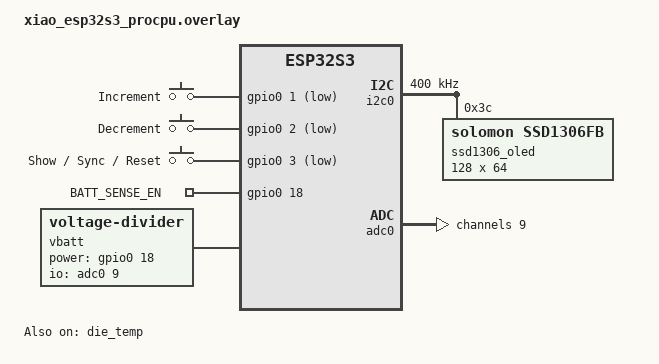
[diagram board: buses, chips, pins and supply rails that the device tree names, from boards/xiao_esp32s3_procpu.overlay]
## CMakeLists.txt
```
#
# Smart Counter — Zephyr build script
#
# Usage (vanilla Zephyr):
#   west build -b xiao_esp32s3/esp32s3/procpu -p auto
#
# Usage (nRF Connect SDK on a Nordic board):
#   west build -b nrf52840dk/nrf52840 -p auto
#   (board overlay + WiFi pieces would need re-targeting, see doc/PORT.md)
#

cmake_minimum_required(VERSION 3.20.0)

find_package(Zephyr REQUIRED HINTS $ENV{ZEPHYR_BASE})
project(smartcounter)

target_sources(app PRIVATE
    src/main.c
    src/buttons.c
    src/battery.c
    src/display.c
    src/ble_uart.c
    src/network.c
    src/settings_store.c
    src/counter_state.c
)

target_include_directories(app PRIVATE src)
```

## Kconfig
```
#
# Smart Counter — application-private Kconfig symbols
#
# Anything project-specific (not a Zephyr subsystem flag) belongs here
# rather than in prj.conf. Default values can be overridden per-board
# via board overlays or via `west build -- -DCONFIG_...=...`.
#

mainmenu "Smart Counter"

source "Kconfig.zephyr"

menu "Smart Counter application"

config SMARTCOUNTER_DEFAULT_POST_INTERVAL_SEC
	int "Default seconds between HTTP POSTs of counter state"
	default 3600
	range 5 86400
	help
	  How often the device wakes from deep sleep to push its state.
	  May be overridden at runtime via BLE/HTTP and stored in settings.

config SMARTCOUNTER_DEFAULT_DISPLAY_TIMEOUT_SEC
	int "Default seconds before the OLED powers off after activity"
	default 15
	range 3 600

config SMARTCOUNTER_BLE_ACTIVE_WINDOW_MS
	int "How long BLE advertising stays up after user activity (ms)"
	default 60000

config SMARTCOUNTER_BATTERY_SAMPLES
	int "Number of ADC samples averaged per battery reading"
	default 8
	range 1 64

config SMARTCOUNTER_DEFAULT_API_URL
	string "Default HTTPS endpoint for counter POSTs"
	default "https://stocknet.resensys.cloud/api/counter"

config SMARTCOUNTER_DEFAULT_WIFI_SSID
	string "Default WiFi SSID (used only if NVS slot is empty)"
	default ""

config SMARTCOUNTER_DEFAULT_WIFI_PASS
	string "Default WiFi password (used only if NVS slot is empty)"
	default ""

endmenu
```

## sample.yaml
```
sample:
  description: Smart Counter — Zephyr port of the Arduino smartcounter_battery sketch
  name: smartcounter
tests:
  app.build:
    platform_allow:
      - xiao_esp32s3/esp32s3/procpu
    tags: smartcounter
    extra_args: CONF_FILE=prj.conf
```

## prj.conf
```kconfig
#
# Smart Counter — application Kconfig fragment
#
# Each CONFIG_* line below is a Kconfig symbol the Zephyr build system
# consumes to enable a subsystem, driver, or feature. This file is the
# Zephyr analogue of the per-sketch #defines and library #includes at
# the top of the Arduino source.
#

# ---------------------------------------------------------------
# General
# ---------------------------------------------------------------
CONFIG_MAIN_STACK_SIZE=4096
CONFIG_SYSTEM_WORKQUEUE_STACK_SIZE=4096
CONFIG_HEAP_MEM_POOL_SIZE=16384

CONFIG_LOG=y
CONFIG_LOG_DEFAULT_LEVEL=3
CONFIG_LOG_MODE_DEFERRED=y
CONFIG_LOG_BUFFER_SIZE=4096

CONFIG_PRINTK=y
CONFIG_CONSOLE=y
CONFIG_SERIAL=y
CONFIG_UART_CONSOLE=y

CONFIG_CPLUSPLUS=n
CONFIG_NEWLIB_LIBC=y
CONFIG_NEWLIB_LIBC_FLOAT_PRINTF=y

CONFIG_REBOOT=y

# ---------------------------------------------------------------
# Threads, work queues, events
# (Zephyr replacement for ad-hoc volatile flags + loop() polling)
# ---------------------------------------------------------------
CONFIG_EVENTS=y
CONFIG_POLL=y

# ---------------------------------------------------------------
# GPIO + ADC + I2C  (buttons, battery sense, OLED bus)
# ---------------------------------------------------------------
CONFIG_GPIO=y
CONFIG_ADC=y
CONFIG_ADC_ASYNC=n
CONFIG_I2C=y

# ---------------------------------------------------------------
# Display: SSD1306 over I2C, character framebuffer ("CFB") for text
# ---------------------------------------------------------------
CONFIG_DISPLAY=y
CONFIG_SSD1306=y
CONFIG_CHARACTER_FRAMEBUFFER=y

# ---------------------------------------------------------------
# Sensors (internal die temperature on ESP32-S3)
# ---------------------------------------------------------------
CONFIG_SENSOR=y

# ---------------------------------------------------------------
# Bluetooth: peripheral with Nordic UART Service (NUS)
# ---------------------------------------------------------------
CONFIG_BT=y
CONFIG_BT_PERIPHERAL=y
CONFIG_BT_DEVICE_NAME="SC-01"
CONFIG_BT_DEVICE_NAME_DYNAMIC=y
CONFIG_BT_DEVICE_NAME_MAX=24
CONFIG_BT_DEVICE_APPEARANCE=0
CONFIG_BT_MAX_CONN=1
CONFIG_BT_GATT_DYNAMIC_DB=y

# Increase MTU so a full GET reply fits in fewer notifications
CONFIG_BT_BUF_ACL_RX_SIZE=251
CONFIG_BT_BUF_ACL_TX_SIZE=251
CONFIG_BT_L2CAP_TX_MTU=247

# Vanilla Zephyr NUS service. In nRF Connect SDK swap for
# CONFIG_BT_NUS=y from <bluetooth/services/nus.h>.
CONFIG_BT_ZEPHYR_NUS=y

# ---------------------------------------------------------------
# Networking: WiFi + sockets + HTTP client + TLS
# ---------------------------------------------------------------
CONFIG_NETWORKING=y
CONFIG_NET_NATIVE=y
CONFIG_NET_IPV4=y
CONFIG_NET_TCP=y
CONFIG_NET_UDP=y
CONFIG_NET_SOCKETS=y
CONFIG_NET_SOCKETS_POSIX_NAMES=y
CONFIG_NET_DHCPV4=y
CONFIG_NET_LOG=y

CONFIG_WIFI=y
CONFIG_WIFI_ESP32=y
CONFIG_NET_L2_WIFI_MGMT=y

CONFIG_DNS_RESOLVER=y

CONFIG_HTTP_CLIENT=y

# TLS for HTTPS POST. mbedTLS is the standard backend on Zephyr.
CONFIG_NET_SOCKETS_SOCKOPT_TLS=y
CONFIG_MBEDTLS=y
CONFIG_MBEDTLS_BUILTIN=y
CONFIG_MBEDTLS_ENABLE_HEAP=y
CONFIG_MBEDTLS_HEAP_SIZE=65536
CONFIG_MBEDTLS_SSL_MAX_CONTENT_LEN=8192
CONFIG_NET_SOCKETS_TLS_MAX_CONTEXTS=2

# ---------------------------------------------------------------
# JSON (replaces ArduinoJson)
# ---------------------------------------------------------------
CONFIG_JSON_LIBRARY=y

# ---------------------------------------------------------------
# Settings + NVS (replaces Preferences.h)
# ---------------------------------------------------------------
CONFIG_FLASH=y
CONFIG_FLASH_MAP=y
CONFIG_NVS=y
CONFIG_SETTINGS=y
CONFIG_SETTINGS_NVS=y

# ---------------------------------------------------------------
# Power management & deep sleep
# (Zephyr "soft off" + GPIO/timer wake — replaces esp_deep_sleep_start)
# ---------------------------------------------------------------
CONFIG_PM=y
CONFIG_PM_DEVICE=y
CONFIG_POWEROFF=y

# ---------------------------------------------------------------
# Retained RAM (replaces RTC_DATA_ATTR boot counter)
# ---------------------------------------------------------------
CONFIG_RETAINED_MEM=y
CONFIG_RETENTION=y
CONFIG_RETENTION_BOOT_MODE=n

# ---------------------------------------------------------------
# Application Kconfig knobs (declared in ./Kconfig)
# ---------------------------------------------------------------
CONFIG_SMARTCOUNTER_DEFAULT_POST_INTERVAL_SEC=3600
CONFIG_SMARTCOUNTER_DEFAULT_DISPLAY_TIMEOUT_SEC=15
```

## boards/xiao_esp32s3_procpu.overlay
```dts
/*
 * Smart Counter — devicetree overlay for the Seeed Studio XIAO ESP32-S3.
 *
 * This file replaces the hard-coded pin numbers and `Wire.begin()` /
 * `Adafruit_SSD1306 display(...)` constructor calls in the Arduino
 * sketch. Every peripheral the application uses is described here as
 * a node; src/*.c only ever asks for the node by alias / chosen and
 * never touches a raw pin number.
 *
 * Resulting macros (DT_ALIAS, DT_NODELABEL, DT_CHOSEN) are generated
 * at build time and consumed in C via <zephyr/devicetree.h>.
 */

/ {
	chosen {
		/*
		 * The OLED display device for cfb_framebuffer_*() helpers.
		 * Replaces Adafruit_SSD1306's hard-coded I2C address arg.
		 */
		zephyr,display = &ssd1306_oled;
	};

	aliases {
		btn-up    = &btn_up;
		btn-down  = &btn_down;
		btn-show  = &btn_show;
		batt-en   = &batt_sense_en;
		oled      = &ssd1306_oled;
		die-temp  = &die_temp;
	};

	buttons {
		compatible = "gpio-keys";

		btn_up: button_up {
			label = "Increment";
			gpios = <&gpio0 1 (GPIO_PULL_UP | GPIO_ACTIVE_LOW)>; /* D0 */
			zephyr,code = <INPUT_KEY_UP>;
		};

		btn_down: button_down {
			label = "Decrement";
			gpios = <&gpio0 2 (GPIO_PULL_UP | GPIO_ACTIVE_LOW)>; /* D1 */
			zephyr,code = <INPUT_KEY_DOWN>;
		};

		btn_show: button_show {
			label = "Show / Sync / Reset";
			gpios = <&gpio0 3 (GPIO_PULL_UP | GPIO_ACTIVE_LOW)>; /* D2 */
			zephyr,code = <INPUT_KEY_ENTER>;
			/* deep-sleep wake source */
			wakeup-source;
		};
	};

	outputs {
		compatible = "gpio-leds";

		batt_sense_en: battery_sense_enable {
			label = "BATT_SENSE_EN";
			gpios = <&gpio0 18 GPIO_ACTIVE_HIGH>; /* D8 */
		};
	};

	vbatt: vbatt {
		/*
		 * Standard Zephyr "voltage-divider" binding. Reads the ADC
		 * channel underneath, scales by full-resistance / output-ohms,
		 * and exposes the recovered battery voltage. Replaces the
		 * manual BATTERY_DIVIDER_SCALE math in the sketch.
		 */
		compatible = "voltage-divider";
		io-channels = <&adc0 9>;            /* A9 on XIAO */
		output-ohms = <6800>;
		full-ohms   = <(3300 + 6800)>;
		power-gpios = <&gpio0 18 GPIO_ACTIVE_HIGH>;
		status = "okay";
	};
};

&i2c0 {
	status = "okay";
	clock-frequency = <I2C_BITRATE_FAST>;
	pinctrl-0 = <&i2c0_default>;
	pinctrl-names = "default";

	ssd1306_oled: ssd1306@3c {
		compatible = "solomon,ssd1306fb";
		reg = <0x3c>;
		width  = <128>;
		height = <64>;
		segment-offset  = <0>;
		page-offset     = <0>;
		display-offset  = <0>;
		multiplex-ratio = <63>;
		segment-remap;
		com-invdir;
		prechargep = <0x22>;
	};
};

&adc0 {
	status = "okay";
	#address-cells = <1>;
	#size-cells = <0>;

	channel@9 {
		reg = <9>;
		zephyr,gain = "ADC_GAIN_1";
		zephyr,reference = "ADC_REF_INTERNAL";
		zephyr,acquisition-time = <ADC_ACQ_TIME_DEFAULT>;
		zephyr,resolution = <12>;
	};
};

/* Internal die temperature sensor (ESP32-S3) */
&die_temp {
	status = "okay";
};
```

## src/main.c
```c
/*
 * Smart Counter — main orchestrator.
 *
 * Replaces the Arduino setup() / loop() pair with:
 *   - main() that initialises every subsystem and falls into the run
 *     loop on the main thread,
 *   - a delayable work item that drives the "idle ⇒ deep sleep"
 *     transition,
 *   - a worker thread that consumes BLE RX commands and button events
 *     off message queues,
 *   - sys_poweroff() for the deep-sleep equivalent of
 *     esp_deep_sleep_start().
 *
 * RTC-retained boot counter from RTC_DATA_ATTR is implemented via
 * Zephyr's retention subsystem (linker-reserved noinit region).
 */

#include <stdio.h>
#include <string.h>

#include <zephyr/kernel.h>
#include <zephyr/init.h>
#include <zephyr/logging/log.h>
#include <zephyr/retention/retention.h>
#include <zephyr/sys/poweroff.h>
#include <zephyr/pm/device.h>
#include <zephyr/drivers/gpio.h>
#include <zephyr/devicetree.h>

#include "counter_state.h"
#include "settings_store.h"
#include "buttons.h"
#include "battery.h"
#include "display.h"
#include "ble_uart.h"
#include "network.h"

LOG_MODULE_REGISTER(sc_app, LOG_LEVEL_INF);

/* -------------------------------------------------------------------------
 * Configuration
 * ------------------------------------------------------------------------- */

#define LOCAL_AWAKE_WINDOW_MS   15000
#define TIMER_AWAKE_WINDOW_MS   15000
#define BOOT_AWAKE_WINDOW_MS    5000
#define BLE_WINDOW_MS_DEFAULT   60000

enum wake_mode {
	WAKE_COLD_BOOT,
	WAKE_FROM_TIMER,
	WAKE_FROM_BUTTON,
};

/* -------------------------------------------------------------------------
 * Retained data across deep sleep (replaces RTC_DATA_ATTR)
 * ------------------------------------------------------------------------- */

struct retained_data {
	uint32_t boot_count;
	uint32_t last_wake_mode;
};

/* Retention area must be declared in the board overlay as a `retained_mem`
 * node; this is the read/write handle. */
#if DT_HAS_CHOSEN(zephyr_retention)
static const struct device *retain_dev = DEVICE_DT_GET(DT_CHOSEN(zephyr_retention));
#endif

static struct retained_data retain_state;

/* -------------------------------------------------------------------------
 * Run-time state (formerly loose globals in the Arduino sketch)
 * ------------------------------------------------------------------------- */

static enum wake_mode  s_wake_mode = WAKE_COLD_BOOT;
static int64_t         s_awake_until_ms;
static int64_t         s_last_activity_ms;
static int64_t         s_ble_active_until_ms;
static bool            s_periodic_work_done;

void sc_app_mark_activity(bool open_ble_window)
{
	s_last_activity_ms = k_uptime_get();
	s_awake_until_ms   = s_last_activity_ms + LOCAL_AWAKE_WINDOW_MS;

	if (open_ble_window) {
		s_ble_active_until_ms = s_last_activity_ms + BLE_WINDOW_MS_DEFAULT;
		if (!sc_ble_advertising_active()) {
			(void)sc_ble_start_advertising();
		}
	}
}

/* -------------------------------------------------------------------------
 * Counter actions (mirror Arduino incrementCount / decrementCount / reset)
 * ------------------------------------------------------------------------- */

static void increment_count(void)
{
	char buf[32];
	struct sc_state *s = sc_state_get();

	k_mutex_lock(&sc_state_lock, K_FOREVER);
	s->count_value++;
	k_mutex_unlock(&sc_state_lock);

	sc_settings_schedule_save();
	sc_display_turn_on(false);
	snprintf(buf, sizeof(buf), "OK COUNT=%d", s->count_value);
	(void)sc_ble_send_line(buf);
}

static void decrement_count(void)
{
	char buf[32];
	struct sc_state *s = sc_state_get();

	k_mutex_lock(&sc_state_lock, K_FOREVER);
	if (s->count_value > 0) s->count_value--;
	k_mutex_unlock(&sc_state_lock);

	sc_settings_schedule_save();
	sc_display_turn_on(false);
	snprintf(buf, sizeof(buf), "OK COUNT=%d", s->count_value);
	(void)sc_ble_send_line(buf);
}

static void reset_count(void)
{
	struct sc_state *s = sc_state_get();
	k_mutex_lock(&sc_state_lock, K_FOREVER);
	s->count_value = 0;
	k_mutex_unlock(&sc_state_lock);

	sc_settings_schedule_save();
	sc_display_turn_on(true);
	(void)sc_ble_send_line("OK RESET COUNT=0");
}

/* -------------------------------------------------------------------------
 * Command parsing (parity with the Arduino processCommand())
 * ------------------------------------------------------------------------- */

static void send_state_dump(void)
{
	struct sc_state *s = sc_state_get();
	struct sc_battery_reading b;
	(void)sc_battery_read(&b);

	char line[256];
	snprintf(line, sizeof(line),
		 "DEVNAME=%s\nNAME=%s\nID=%s\nCOUNT=%d\nBATT_V=%.3f\nBATT_MV=%u\n",
		 s->device_name, s->part_name, s->part_id, s->count_value,
		 (double)b.battery_v, b.adc_mv);
	(void)sc_ble_send_line(line);
}

static void process_command(char *cmd)
{
	/* Strip CR/LF and surrounding whitespace */
	char *p = cmd;
	while (*p == ' ' || *p == '\t') p++;
	size_t len = strlen(p);
	while (len && (p[len-1] == '\r' || p[len-1] == '\n' || p[len-1] == ' ')) {
		p[--len] = '\0';
	}
	if (len == 0) return;

	sc_app_mark_activity(true);

	if (strcmp(p, "HELP") == 0) {
		(void)sc_ble_send_line("CMDS: HELP, GET, COUNT=..., RESET, POST_NOW, FETCH_NOW, SLEEP_NOW, BATT_NOW");
		return;
	}
	if (strcmp(p, "GET") == 0)        { send_state_dump(); return; }
	if (strcmp(p, "RESET") == 0)      { reset_count();     return; }
	if (strcmp(p, "POST_NOW") == 0)   {
		int rc = sc_http_post_counter_update();
		sc_wifi_disconnect();
		(void)sc_ble_send_line(rc == 0 ? "OK POST_NOW" : "ERR POST_NOW");
		return;
	}
	if (strcmp(p, "FETCH_NOW") == 0)  {
		int rc = sc_http_fetch_and_apply_commands();
		sc_wifi_disconnect();
		(void)sc_ble_send_line(rc == 0 ? "OK FETCH_NOW" : "ERR FETCH_NOW");
		return;
	}
	if (strcmp(p, "SLEEP_NOW") == 0)  {
		(void)sc_ble_send_line("OK SLEEPING");
		s_awake_until_ms = 0;
		return;
	}
	if (strncmp(p, "COUNT=", 6) == 0) {
		int v = atoi(p + 6);
		if (v < 0) v = 0;
		k_mutex_lock(&sc_state_lock, K_FOREVER);
		sc_state_get()->count_value = v;
		k_mutex_unlock(&sc_state_lock);
		sc_settings_schedule_save();
		sc_display_turn_on(true);
		(void)sc_ble_send_line("OK COUNT");
		return;
	}

	(void)sc_ble_send_line("ERR UNKNOWN CMD");
}

/* -------------------------------------------------------------------------
 * Background thread that processes button + BLE events.
 * ------------------------------------------------------------------------- */

static K_THREAD_STACK_DEFINE(worker_stack, 4096);
static struct k_thread worker_thread;

static void worker(void *p1, void *p2, void *p3)
{
	ARG_UNUSED(p1); ARG_UNUSED(p2); ARG_UNUSED(p3);

	struct k_poll_event events[] = {
		K_POLL_EVENT_STATIC_INITIALIZER(K_POLL_TYPE_MSGQ_DATA_AVAILABLE,
						K_POLL_MODE_NOTIFY_ONLY,
						&sc_button_events, 0),
		K_POLL_EVENT_STATIC_INITIALIZER(K_POLL_TYPE_MSGQ_DATA_AVAILABLE,
						K_POLL_MODE_NOTIFY_ONLY,
						&sc_ble_cmd_q, 0),
	};

	while (1) {
		(void)k_poll(events, ARRAY_SIZE(events), K_FOREVER);

		if (events[0].state == K_POLL_STATE_MSGQ_DATA_AVAILABLE) {
			enum sc_button_event ev;
			while (k_msgq_get(&sc_button_events, &ev, K_NO_WAIT) == 0) {
				sc_app_mark_activity(ev == SC_BTN_SHOW_TAP);
				switch (ev) {
				case SC_BTN_UP_PRESSED:        increment_count(); break;
				case SC_BTN_DOWN_PRESSED:      decrement_count(); break;
				case SC_BTN_SHOW_TAP:          sc_display_toggle(); break;
				case SC_BTN_SHOW_DOUBLE_TAP:
					sc_display_show_status("Manual sync", "Fetch + POST");
					(void)sc_http_fetch_and_apply_commands();
					(void)sc_http_post_counter_update();
					sc_wifi_disconnect();
					sc_display_clear_status();
					break;
				case SC_BTN_SHOW_LONG_PRESS:   reset_count(); break;
				}
			}
		}

		if (events[1].state == K_POLL_STATE_MSGQ_DATA_AVAILABLE) {
			struct sc_ble_cmd cmd;
			while (k_msgq_get(&sc_ble_cmd_q, &cmd, K_NO_WAIT) == 0) {
				process_command(cmd.data);
			}
		}

		events[0].state = K_POLL_STATE_NOT_READY;
		events[1].state = K_POLL_STATE_NOT_READY;
	}
}

/* -------------------------------------------------------------------------
 * Deep sleep
 * ------------------------------------------------------------------------- */

#define BTN_SHOW_NODE DT_ALIAS(btn_show)

static void enter_deep_sleep(void)
{
	(void)sc_settings_save();
	(void)sc_ble_stop_advertising();
	sc_wifi_disconnect();
	sc_display_turn_off();

	/* Configure the SHOW button as the wake source. On Zephyr the
	 * portable hook is `gpio_pin_interrupt_configure_dt(..., GPIO_INT_LEVEL_LOW)`
	 * with the pin declared `wakeup-source` in the devicetree. */
	const struct gpio_dt_spec btn_show = GPIO_DT_SPEC_GET(BTN_SHOW_NODE, gpios);
	(void)gpio_pin_interrupt_configure_dt(&btn_show, GPIO_INT_LEVEL_ACTIVE);

#if DT_HAS_CHOSEN(zephyr_retention)
	if (retain_dev && device_is_ready(retain_dev)) {
		retain_state.boot_count++;
		retain_state.last_wake_mode = WAKE_FROM_TIMER;
		(void)retention_write(retain_dev, 0,
				      (uint8_t *)&retain_state, sizeof(retain_state));
	}
#endif

	LOG_INF("entering soft-off");
	k_msleep(50);

	/* sys_poweroff() halts the CPU; wakeup-source GPIOs (and any
	 * RTC timer programmed earlier) trigger a full reboot — same
	 * semantics as the ESP32 deep-sleep cycle. To schedule a timed
	 * wake on ESP32-S3 you would call esp_sleep_enable_timer_wakeup()
	 * prior to this; in Zephyr you'd use a counter device with
	 * counter_set_alarm() + COUNTER_ALARM_CFG_ABSOLUTE on a
	 * wake-capable timer. */
	sys_poweroff();
}

static bool ready_for_deep_sleep(void)
{
	int64_t now = k_uptime_get();
	if (sc_ble_is_connected()) return false;
	if (sc_display_enabled())  return false;
	if (now < s_awake_until_ms) return false;
	return true;
}

/* -------------------------------------------------------------------------
 * Wake handling (parity with handleWakeBootBehavior())
 * ------------------------------------------------------------------------- */

static enum wake_mode decode_wake_mode(void)
{
	/* On Zephyr the post-poweroff reboot looks like a fresh boot;
	 * the application is expected to read its retention region to
	 * tell cold-boot from wake. */
#if DT_HAS_CHOSEN(zephyr_retention)
	if (retain_dev && device_is_ready(retain_dev)) {
		(void)retention_read(retain_dev, 0,
				     (uint8_t *)&retain_state, sizeof(retain_state));
		if (retain_state.boot_count > 0) {
			return (enum wake_mode)retain_state.last_wake_mode;
		}
	}
#endif
	return WAKE_COLD_BOOT;
}

static void apply_wake_mode(enum wake_mode m)
{
	s_wake_mode          = m;
	s_periodic_work_done = false;

	switch (m) {
	case WAKE_FROM_BUTTON:
		sc_display_turn_on(true);
		s_awake_until_ms = k_uptime_get() + LOCAL_AWAKE_WINDOW_MS;
		break;
	case WAKE_FROM_TIMER:
		sc_display_turn_off();
		s_awake_until_ms = k_uptime_get() + TIMER_AWAKE_WINDOW_MS;
		break;
	case WAKE_COLD_BOOT:
	default:
		sc_display_turn_on(false);
		s_awake_until_ms = k_uptime_get() + BOOT_AWAKE_WINDOW_MS;
		break;
	}

	s_last_activity_ms = k_uptime_get();
}

/* -------------------------------------------------------------------------
 * main()
 * ------------------------------------------------------------------------- */

int main(void)
{
	LOG_INF("Smart Counter boot");

	sc_state_init_defaults(sc_state_get());

	if (sc_settings_init() == 0) {
		(void)sc_settings_load();
	}

	(void)sc_battery_init();
	(void)sc_die_temp_init();
	(void)sc_display_init();
	(void)sc_buttons_init();
	(void)sc_ble_init();
	(void)sc_network_init();

	apply_wake_mode(decode_wake_mode());

	(void)sc_ble_start_advertising();
	s_ble_active_until_ms = k_uptime_get() + BLE_WINDOW_MS_DEFAULT;

	k_thread_create(&worker_thread, worker_stack,
			K_THREAD_STACK_SIZEOF(worker_stack),
			worker, NULL, NULL, NULL,
			7, 0, K_NO_WAIT);
	k_thread_name_set(&worker_thread, "sc_worker");

	/* "Cold boot verification POST" — same as Arduino loop()'s
	 * `if (wakeMode == WAKE_COLD_BOOT && !periodicWorkDone) ...` */
	if (s_wake_mode == WAKE_COLD_BOOT || s_wake_mode == WAKE_FROM_TIMER) {
		s_periodic_work_done = true;
		(void)sc_http_fetch_and_apply_commands();
		(void)sc_http_post_counter_update();
		sc_wifi_disconnect();
	}

	while (1) {
		int64_t now = k_uptime_get();

		/* OLED idle timeout */
		struct sc_state *s = sc_state_get();
		if (sc_display_enabled() &&
		    (now - s_last_activity_ms >= (int64_t)s->display_timeout_sec * 1000)) {
			sc_display_turn_off();
		}

		/* Stop advertising once the BLE window expires without a peer */
		if (sc_ble_advertising_active() && !sc_ble_is_connected() &&
		    now >= s_ble_active_until_ms) {
			(void)sc_ble_stop_advertising();
		}

		if (ready_for_deep_sleep()) {
			enter_deep_sleep();
			/* unreachable */
		}

		k_msleep(50);
	}

	return 0;
}
```

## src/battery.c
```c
#include "battery.h"

#include <zephyr/device.h>
#include <zephyr/devicetree.h>
#include <zephyr/drivers/adc.h>
#include <zephyr/drivers/adc/voltage_divider.h>
#include <zephyr/drivers/sensor.h>
#include <zephyr/logging/log.h>

LOG_MODULE_REGISTER(sc_battery, LOG_LEVEL_INF);

#define VBATT_NODE     DT_NODELABEL(vbatt)
#define DIE_TEMP_NODE  DT_ALIAS(die_temp)

#define ENABLE_SETTLE_MS 3
#define SAMPLE_GAP_MS    2

static const struct voltage_divider_dt_spec vbatt =
	VOLTAGE_DIVIDER_DT_SPEC_GET(VBATT_NODE);

static const struct device *const die_temp = DEVICE_DT_GET(DIE_TEMP_NODE);

int sc_battery_init(void)
{
	int rc;

	if (!adc_is_ready_dt(&vbatt.port)) {
		LOG_ERR("ADC channel not ready");
		return -ENODEV;
	}

	rc = adc_channel_setup_dt(&vbatt.port);
	if (rc) {
		LOG_ERR("adc_channel_setup_dt: %d", rc);
		return rc;
	}

	if (vbatt.power_gpios.port) {
		rc = gpio_pin_configure_dt(&vbatt.power_gpios, GPIO_OUTPUT_INACTIVE);
		if (rc) {
			LOG_ERR("battery enable GPIO configure: %d", rc);
			return rc;
		}
	}

	return 0;
}

int sc_battery_read(struct sc_battery_reading *out)
{
	int rc;
	int32_t sum_mv = 0;
	int32_t sum_raw = 0;
	uint32_t samples = CONFIG_SMARTCOUNTER_BATTERY_SAMPLES;

	if (vbatt.power_gpios.port) {
		gpio_pin_set_dt(&vbatt.power_gpios, 1);
		k_msleep(ENABLE_SETTLE_MS);
	}

	/* Discard first sample after enabling the divider */
	int32_t throwaway_mv = 0;
	(void)voltage_divider_sample_to_mv(&vbatt, &throwaway_mv);
	k_msleep(1);

	for (uint32_t i = 0; i < samples; i++) {
		int32_t mv = 0;
		rc = voltage_divider_sample_to_mv(&vbatt, &mv);
		if (rc) {
			break;
		}
		sum_mv  += mv;
		sum_raw += mv; /* raw ADC count not surfaced by the helper */
		k_msleep(SAMPLE_GAP_MS);
	}

	if (vbatt.power_gpios.port) {
		gpio_pin_set_dt(&vbatt.power_gpios, 0);
	}

	if (rc) {
		out->valid = false;
		return rc;
	}

	out->raw       = (uint32_t)(sum_raw / (int32_t)samples);
	out->adc_mv    = (uint32_t)(sum_mv  / (int32_t)samples);
	out->adc_v     = out->adc_mv / 1000.0f;
	out->battery_v = out->adc_v *
			 ((float)vbatt.full_ohms / (float)vbatt.output_ohms);
	out->valid     = true;

	return 0;
}

int sc_die_temp_init(void)
{
	if (!device_is_ready(die_temp)) {
		LOG_WRN("die_temp device not ready");
		return -ENODEV;
	}
	return 0;
}

int sc_die_temp_read_c(float *out_c)
{
	struct sensor_value v;
	int rc;

	if (!device_is_ready(die_temp)) {
		*out_c = -999.0f;
		return -ENODEV;
	}

	rc = sensor_sample_fetch(die_temp);
	if (rc) {
		*out_c = -999.0f;
		return rc;
	}
	rc = sensor_channel_get(die_temp, SENSOR_CHAN_DIE_TEMP, &v);
	if (rc) {
		*out_c = -999.0f;
		return rc;
	}

	*out_c = (float)sensor_value_to_double(&v);
	return 0;
}
```

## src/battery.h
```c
/*
 * Battery voltage sampling. The Arduino code did:
 *   - digitalWrite(D8, HIGH)            // enable divider
 *   - delay(3)
 *   - analogRead(A9) * 8/N samples
 *   - digitalWrite(D8, LOW)
 *   - apply DIVIDER_SCALE math
 *
 * In Zephyr the `voltage-divider` devicetree binding (declared in the
 * board overlay) wraps the enable GPIO, the ADC channel, and the
 * resistor ratio behind a single API call. The sample loop here only
 * has to issue N samples and average.
 */

#ifndef SMARTCOUNTER_BATTERY_H_
#define SMARTCOUNTER_BATTERY_H_

#include <stdbool.h>
#include <stdint.h>

struct sc_battery_reading {
	uint32_t raw;
	uint32_t adc_mv;
	float    adc_v;
	float    battery_v;
	bool     valid;
};

int sc_battery_init(void);
int sc_battery_read(struct sc_battery_reading *out);

int sc_die_temp_init(void);
int sc_die_temp_read_c(float *out_c);

#endif /* SMARTCOUNTER_BATTERY_H_ */
```

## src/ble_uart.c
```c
#include "ble_uart.h"
#include "counter_state.h"

#include <string.h>
#include <stdio.h>

#include <zephyr/bluetooth/bluetooth.h>
#include <zephyr/bluetooth/conn.h>
#include <zephyr/bluetooth/gatt.h>
#include <zephyr/bluetooth/uuid.h>
#include <zephyr/bluetooth/services/nus.h>
#include <zephyr/logging/log.h>

LOG_MODULE_REGISTER(sc_ble, LOG_LEVEL_INF);

K_MSGQ_DEFINE(sc_ble_cmd_q, sizeof(struct sc_ble_cmd), 4, 4);

static struct bt_conn *current_conn;
static bool ble_started_flag;
static bool advertising_flag;

/*
 * Advertising payload. The Arduino NimBLE code set the device name +
 * one 128-bit service UUID. Zephyr expresses that as a
 * struct bt_data array, where each entry is a (type, len, data) triplet
 * matching the Bluetooth Core spec AD format.
 */
static const struct bt_data ad[] = {
	BT_DATA_BYTES(BT_DATA_FLAGS, (BT_LE_AD_GENERAL | BT_LE_AD_NO_BREDR)),
	BT_DATA_BYTES(BT_DATA_UUID128_ALL,
		      0x9E, 0xCA, 0xDC, 0x24, 0x0E, 0xE5, 0xA9, 0xE0,
		      0x93, 0xF3, 0xA3, 0xB5, 0x01, 0x00, 0x40, 0x6E),
};

static const struct bt_data sd[] = {
	BT_DATA(BT_DATA_NAME_COMPLETE,
		CONFIG_BT_DEVICE_NAME, sizeof(CONFIG_BT_DEVICE_NAME) - 1),
};

static void connected(struct bt_conn *conn, uint8_t err)
{
	if (err) {
		LOG_WRN("connect err 0x%02x", err);
		return;
	}
	current_conn = bt_conn_ref(conn);
	LOG_INF("BLE central connected");
}

static void disconnected(struct bt_conn *conn, uint8_t reason)
{
	LOG_INF("BLE disconnected, reason 0x%02x", reason);
	if (current_conn) {
		bt_conn_unref(current_conn);
		current_conn = NULL;
	}
	/* The application decides whether to re-advertise; see main.c. */
}

BT_CONN_CB_DEFINE(conn_callbacks) = {
	.connected    = connected,
	.disconnected = disconnected,
};

/*
 * NUS callbacks. `received` is invoked off the BT RX thread; we copy
 * the payload into a message queue so the main thread can do the
 * heavy command parsing without blocking the BLE stack.
 */
static void nus_received(struct bt_conn *conn, const void *data, uint16_t len)
{
	ARG_UNUSED(conn);

	struct sc_ble_cmd cmd = {0};
	size_t n = MIN(len, sizeof(cmd.data) - 1);
	memcpy(cmd.data, data, n);
	cmd.data[n] = '\0';

	(void)k_msgq_put(&sc_ble_cmd_q, &cmd, K_NO_WAIT);
}

static struct bt_nus_cb nus_cb = {
	.received = nus_received,
};

int sc_ble_init(void)
{
	int rc;

	rc = bt_enable(NULL);
	if (rc) {
		LOG_ERR("bt_enable: %d", rc);
		return rc;
	}

	rc = bt_nus_cb_register(&nus_cb, NULL);
	if (rc) {
		LOG_ERR("bt_nus_cb_register: %d", rc);
		return rc;
	}

	/* Push the user-configurable device name into the BLE stack so
	 * the scan-response sd[] uses the right value. */
	rc = bt_set_name(sc_state_get()->device_name);
	if (rc) {
		LOG_WRN("bt_set_name: %d", rc);
	}

	ble_started_flag = true;
	return 0;
}

int sc_ble_start_advertising(void)
{
	if (!ble_started_flag) return -ENODEV;

	int rc = bt_le_adv_start(BT_LE_ADV_CONN, ad, ARRAY_SIZE(ad),
				 sd, ARRAY_SIZE(sd));
	if (rc && rc != -EALREADY) {
		LOG_ERR("adv start failed: %d", rc);
		return rc;
	}

	advertising_flag = true;
	LOG_INF("advertising started");
	return 0;
}

int sc_ble_stop_advertising(void)
{
	if (!advertising_flag) return 0;
	(void)bt_le_adv_stop();
	advertising_flag = false;
	LOG_INF("advertising stopped");
	return 0;
}

int sc_ble_send_line(const char *msg)
{
	if (!current_conn || !msg) {
		return -ENOTCONN;
	}
	return bt_nus_send(current_conn, msg, strlen(msg));
}

bool sc_ble_is_connected(void)       { return current_conn != NULL; }
bool sc_ble_advertising_active(void) { return advertising_flag; }
bool sc_ble_started(void)            { return ble_started_flag; }
```

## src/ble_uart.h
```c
/*
 * Nordic UART Service (NUS) wrapper.
 *
 *   Service UUID : 6E400001-B5A3-F393-E0A9-E50E24DCCA9E
 *   RX char UUID : 6E400002-...  (peer writes, device receives)
 *   TX char UUID : 6E400003-...  (device notifies, peer reads)
 *
 * In Zephyr this service is shipped as `BT_ZEPHYR_NUS` (struct
 * bt_nus_cb, bt_nus_send, etc.). In nRF Connect SDK the equivalent
 * lives at <bluetooth/services/nus.h> and exposes essentially the
 * same API; the prj.conf swap is `CONFIG_BT_NUS=y`.
 *
 * RX bytes are queued and consumed off the BLE callback context, just
 * like the Arduino bleCmdQueue[] ring did.
 */

#ifndef SMARTCOUNTER_BLE_UART_H_
#define SMARTCOUNTER_BLE_UART_H_

#include <stdbool.h>
#include <stddef.h>
#include <zephyr/kernel.h>

#define SC_BLE_CMD_MAX_LEN 192

struct sc_ble_cmd {
	char data[SC_BLE_CMD_MAX_LEN];
};

extern struct k_msgq sc_ble_cmd_q;

int  sc_ble_init(void);

int  sc_ble_start_advertising(void);
int  sc_ble_stop_advertising(void);

int  sc_ble_send_line(const char *msg);

bool sc_ble_is_connected(void);
bool sc_ble_advertising_active(void);
bool sc_ble_started(void);

#endif /* SMARTCOUNTER_BLE_UART_H_ */
```

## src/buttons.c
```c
#include "buttons.h"

#include <zephyr/device.h>
#include <zephyr/drivers/gpio.h>
#include <zephyr/logging/log.h>

LOG_MODULE_REGISTER(sc_buttons, LOG_LEVEL_INF);

#define BTN_UP_NODE    DT_ALIAS(btn_up)
#define BTN_DOWN_NODE  DT_ALIAS(btn_down)
#define BTN_SHOW_NODE  DT_ALIAS(btn_show)

#define DEBOUNCE_MS         60
#define SHOW_LONG_PRESS_MS  3000
#define SHOW_DBL_PRESS_MS   400

K_MSGQ_DEFINE(sc_button_events, sizeof(enum sc_button_event), 8, 4);

static const struct gpio_dt_spec btn_up   = GPIO_DT_SPEC_GET(BTN_UP_NODE,   gpios);
static const struct gpio_dt_spec btn_down = GPIO_DT_SPEC_GET(BTN_DOWN_NODE, gpios);
static const struct gpio_dt_spec btn_show = GPIO_DT_SPEC_GET(BTN_SHOW_NODE, gpios);

static struct gpio_callback btn_up_cb_data;
static struct gpio_callback btn_down_cb_data;
static struct gpio_callback btn_show_cb_data;

static int64_t last_up_ms;
static int64_t last_down_ms;
static int64_t last_show_edge_ms;

/* Show-button state machine */
static bool     show_pressed;
static bool     show_long_handled;
static int64_t  show_press_start_ms;
static bool     show_tap_pending;
static int64_t  show_tap_released_ms;

static void post_event(enum sc_button_event ev)
{
	(void)k_msgq_put(&sc_button_events, &ev, K_NO_WAIT);
}

/* Delayed work: long-press detection + pending-tap timeout */
static void show_work_handler(struct k_work *work);
static K_WORK_DELAYABLE_DEFINE(show_work, show_work_handler);

static void show_work_handler(struct k_work *work)
{
	ARG_UNUSED(work);
	int64_t now = k_uptime_get();

	if (show_pressed && !show_long_handled &&
	    (now - show_press_start_ms >= SHOW_LONG_PRESS_MS)) {
		show_long_handled = true;
		show_tap_pending  = false;
		post_event(SC_BTN_SHOW_LONG_PRESS);
		return;
	}

	if (show_tap_pending && (now - show_tap_released_ms > SHOW_DBL_PRESS_MS)) {
		show_tap_pending = false;
		post_event(SC_BTN_SHOW_TAP);
	}
}

static void btn_up_isr(const struct device *dev, struct gpio_callback *cb, uint32_t pins)
{
	ARG_UNUSED(dev); ARG_UNUSED(cb); ARG_UNUSED(pins);
	int64_t now = k_uptime_get();
	if (now - last_up_ms < DEBOUNCE_MS) return;
	last_up_ms = now;
	post_event(SC_BTN_UP_PRESSED);
}

static void btn_down_isr(const struct device *dev, struct gpio_callback *cb, uint32_t pins)
{
	ARG_UNUSED(dev); ARG_UNUSED(cb); ARG_UNUSED(pins);
	int64_t now = k_uptime_get();
	if (now - last_down_ms < DEBOUNCE_MS) return;
	last_down_ms = now;
	post_event(SC_BTN_DOWN_PRESSED);
}

static void btn_show_isr(const struct device *dev, struct gpio_callback *cb, uint32_t pins)
{
	ARG_UNUSED(dev); ARG_UNUSED(cb); ARG_UNUSED(pins);

	int64_t now   = k_uptime_get();
	int level     = gpio_pin_get_dt(&btn_show);

	if (now - last_show_edge_ms < DEBOUNCE_MS) return;
	last_show_edge_ms = now;

	if (level == 1) {
		/* Press edge (logical active=1 because of GPIO_ACTIVE_LOW) */
		show_pressed       = true;
		show_long_handled  = false;
		show_press_start_ms = now;
		k_work_reschedule(&show_work, K_MSEC(SHOW_LONG_PRESS_MS));
	} else {
		/* Release edge */
		if (show_pressed && !show_long_handled) {
			if (show_tap_pending &&
			    (now - show_tap_released_ms <= SHOW_DBL_PRESS_MS)) {
				show_tap_pending = false;
				post_event(SC_BTN_SHOW_DOUBLE_TAP);
			} else {
				show_tap_pending = true;
				show_tap_released_ms = now;
				k_work_reschedule(&show_work, K_MSEC(SHOW_DBL_PRESS_MS + 10));
			}
		}
		show_pressed = false;
	}
}

static int configure_button(const struct gpio_dt_spec *spec,
			    struct gpio_callback *cb_data,
			    gpio_callback_handler_t handler,
			    gpio_flags_t edge)
{
	int rc;

	if (!gpio_is_ready_dt(spec)) {
		LOG_ERR("button GPIO not ready");
		return -ENODEV;
	}

	rc = gpio_pin_configure_dt(spec, GPIO_INPUT);
	if (rc) return rc;

	rc = gpio_pin_interrupt_configure_dt(spec, edge);
	if (rc) return rc;

	gpio_init_callback(cb_data, handler, BIT(spec->pin));
	return gpio_add_callback(spec->port, cb_data);
}

int sc_buttons_init(void)
{
	int rc;

	rc = configure_button(&btn_up,   &btn_up_cb_data,   btn_up_isr,   GPIO_INT_EDGE_TO_ACTIVE);
	if (rc) return rc;

	rc = configure_button(&btn_down, &btn_down_cb_data, btn_down_isr, GPIO_INT_EDGE_TO_ACTIVE);
	if (rc) return rc;

	rc = configure_button(&btn_show, &btn_show_cb_data, btn_show_isr, GPIO_INT_EDGE_BOTH);
	if (rc) return rc;

	LOG_INF("buttons ready");
	return 0;
}
```

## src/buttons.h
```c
/*
 * Button input. The Arduino sketch debounced via timestamps inside
 * loop(); in Zephyr we use the GPIO subsystem with edge-triggered
 * interrupts and a delayed work item that performs the debounce +
 * tap/double-tap/long-press detection.
 *
 * Three semantic events are emitted via a k_msgq:
 *   SC_BTN_UP_PRESSED      → incrementCount()
 *   SC_BTN_DOWN_PRESSED    → decrementCount()
 *   SC_BTN_SHOW_TAP        → toggleDisplay()
 *   SC_BTN_SHOW_DOUBLE_TAP → manual fetch + POST
 *   SC_BTN_SHOW_LONG_PRESS → resetCount()
 */

#ifndef SMARTCOUNTER_BUTTONS_H_
#define SMARTCOUNTER_BUTTONS_H_

#include <zephyr/kernel.h>

enum sc_button_event {
	SC_BTN_UP_PRESSED,
	SC_BTN_DOWN_PRESSED,
	SC_BTN_SHOW_TAP,
	SC_BTN_SHOW_DOUBLE_TAP,
	SC_BTN_SHOW_LONG_PRESS,
};

extern struct k_msgq sc_button_events;

int sc_buttons_init(void);

#endif /* SMARTCOUNTER_BUTTONS_H_ */
```

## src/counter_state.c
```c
#include "counter_state.h"

#include <string.h>
#include <stdio.h>

#include <zephyr/bluetooth/addr.h>
#include <zephyr/bluetooth/bluetooth.h>

K_MUTEX_DEFINE(sc_state_lock);

static struct sc_state s_state;

struct sc_state *sc_state_get(void)
{
	return &s_state;
}

void sc_state_init_defaults(struct sc_state *s)
{
	memset(s, 0, sizeof(*s));

	bt_addr_le_t addr;
	size_t count = 1;
	bt_id_get(&addr, &count);

	snprintf(s->device_name, sizeof(s->device_name),
		 "Counter-%02X%02X%02X",
		 addr.a.val[2], addr.a.val[1], addr.a.val[0]);

	strncpy(s->part_name, "PART", sizeof(s->part_name) - 1);
	strncpy(s->part_id,   "0001", sizeof(s->part_id)   - 1);

	s->count_value         = 0;
	s->warn_threshold      = 0;
	s->crit_threshold      = 0;
	s->display_timeout_sec = CONFIG_SMARTCOUNTER_DEFAULT_DISPLAY_TIMEOUT_SEC;
	s->post_interval_sec   = CONFIG_SMARTCOUNTER_DEFAULT_POST_INTERVAL_SEC;

	strncpy(s->wifi_ssid, CONFIG_SMARTCOUNTER_DEFAULT_WIFI_SSID, sizeof(s->wifi_ssid) - 1);
	strncpy(s->wifi_pass, CONFIG_SMARTCOUNTER_DEFAULT_WIFI_PASS, sizeof(s->wifi_pass) - 1);
	strncpy(s->api_url,   CONFIG_SMARTCOUNTER_DEFAULT_API_URL,   sizeof(s->api_url)   - 1);

	s->last_rssi  = 0;
	s->last_temp_c = -999.0f;
}
```

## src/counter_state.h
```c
/*
 * Persistent application state (the Arduino globals: deviceName, partName,
 * partID, countValue, thresholds, network config, etc.) consolidated into
 * one struct guarded by a mutex.
 *
 * Mirrors what Preferences (NVS) stored on the Arduino side; the actual
 * load/save path lives in settings_store.c using Zephyr's `settings`
 * subsystem.
 */

#ifndef SMARTCOUNTER_COUNTER_STATE_H_
#define SMARTCOUNTER_COUNTER_STATE_H_

#include <stdbool.h>
#include <stddef.h>
#include <stdint.h>

#include <zephyr/kernel.h>

#define SC_DEVICE_NAME_MAX 24
#define SC_PART_NAME_MAX   20
#define SC_PART_ID_MAX     20
#define SC_WIFI_SSID_MAX   32
#define SC_WIFI_PASS_MAX   64
#define SC_API_URL_MAX     128

struct sc_state {
	char     device_name[SC_DEVICE_NAME_MAX + 1];
	char     part_name[SC_PART_NAME_MAX + 1];
	char     part_id[SC_PART_ID_MAX + 1];
	int32_t  count_value;

	int32_t  warn_threshold;
	int32_t  crit_threshold;

	uint32_t display_timeout_sec;
	uint32_t post_interval_sec;

	char     wifi_ssid[SC_WIFI_SSID_MAX + 1];
	char     wifi_pass[SC_WIFI_PASS_MAX + 1];
	char     api_url[SC_API_URL_MAX + 1];

	int8_t   last_rssi;
	float    last_temp_c;
};

extern struct k_mutex sc_state_lock;

struct sc_state *sc_state_get(void);

void sc_state_init_defaults(struct sc_state *s);

#endif /* SMARTCOUNTER_COUNTER_STATE_H_ */
```

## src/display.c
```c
#include "display.h"
#include "counter_state.h"
#include "battery.h"

#include <stdio.h>
#include <string.h>

#include <zephyr/device.h>
#include <zephyr/devicetree.h>
#include <zephyr/drivers/display.h>
#include <zephyr/display/cfb.h>
#include <zephyr/pm/device.h>
#include <zephyr/logging/log.h>

LOG_MODULE_REGISTER(sc_display, LOG_LEVEL_INF);

static const struct device *const oled = DEVICE_DT_GET(DT_CHOSEN(zephyr_display));

static enum sc_display_mode mode = SC_DISP_COUNT;
static bool enabled;
static bool status_active;
static char status_l1[32];
static char status_l2[32];

extern void sc_app_mark_activity(bool open_ble_window);

static int display_power(bool on)
{
	enum pm_device_action action = on ? PM_DEVICE_ACTION_RESUME : PM_DEVICE_ACTION_SUSPEND;
	int rc = pm_device_action_run(oled, action);
	if (rc && rc != -EALREADY) {
		LOG_WRN("display pm action %d failed: %d", action, rc);
	}
	(void)display_blanking_off(oled);
	return rc;
}

static void draw_header(const char *line)
{
	cfb_print(oled, line, 0, 0);
}

static void draw_count_screen(void)
{
	char id_line[40];
	char count_line[16];
	const char *badge = NULL;

	struct sc_state *s = sc_state_get();

	cfb_framebuffer_clear(oled, false);

	cfb_framebuffer_set_font(oled, 0);
	draw_header(s->part_name);
	snprintf(id_line, sizeof(id_line), "%s", s->part_id);
	cfb_print(oled, id_line, 0, 10);

	if (s->crit_threshold > 0 && s->count_value <= s->crit_threshold) {
		badge = "CRIT";
	} else if (s->warn_threshold > 0 && s->count_value <= s->warn_threshold) {
		badge = "LOW";
	}
	if (badge) {
		cfb_print(oled, badge, 100, 0);
	}

	cfb_framebuffer_set_font(oled, 1); /* larger font */
	snprintf(count_line, sizeof(count_line), "%d", s->count_value);
	cfb_print(oled, count_line, 0, 34);

	cfb_framebuffer_finalize(oled);
}

static void draw_battery_screen(void)
{
	struct sc_battery_reading b;
	char l1[24];
	char l2[24];

	(void)sc_battery_read(&b);

	cfb_framebuffer_clear(oled, false);

	cfb_framebuffer_set_font(oled, 0);
	draw_header(sc_state_get()->device_name);
	cfb_print(oled, "BATTERY", 0, 14);

	float pct = 0.0f;
	if (b.valid && b.battery_v > 3.0f) {
		pct = (b.battery_v - 3.0f) / (4.2f - 3.0f);
		if (pct > 1.0f) pct = 1.0f;
	}

	snprintf(l1, sizeof(l1), "%d%%", (int)(pct * 100.0f));
	cfb_framebuffer_set_font(oled, 1);
	cfb_print(oled, l1, 0, 48);

	if (b.valid) {
		snprintf(l2, sizeof(l2), "%.2fV", (double)b.battery_v);
	} else {
		snprintf(l2, sizeof(l2), "--V");
	}
	cfb_framebuffer_set_font(oled, 0);
	cfb_print(oled, l2, 80, 54);

	cfb_framebuffer_finalize(oled);
}

static void draw_status_screen(void)
{
	cfb_framebuffer_clear(oled, false);
	cfb_framebuffer_set_font(oled, 0);
	draw_header(sc_state_get()->device_name);
	cfb_print(oled, status_l1, 0, 18);
	if (status_l2[0]) {
		cfb_print(oled, status_l2, 0, 30);
	}
	cfb_framebuffer_finalize(oled);
}

int sc_display_init(void)
{
	if (!device_is_ready(oled)) {
		LOG_ERR("OLED device not ready");
		return -ENODEV;
	}

	int rc = cfb_framebuffer_init(oled);
	if (rc) {
		LOG_ERR("cfb init: %d", rc);
		return rc;
	}

	display_power(false);
	enabled = false;
	return 0;
}

void sc_display_render(void)
{
	if (!enabled) {
		display_power(false);
		return;
	}
	display_power(true);
	if (status_active) {
		draw_status_screen();
	} else if (mode == SC_DISP_BATTERY) {
		draw_battery_screen();
	} else {
		draw_count_screen();
	}
}

void sc_display_turn_on(bool open_ble_window)
{
	enabled = true;
	mode = SC_DISP_COUNT;
	status_active = false;
	sc_app_mark_activity(open_ble_window);
	sc_display_render();
}

void sc_display_turn_off(void)
{
	enabled = false;
	status_active = false;
	cfb_framebuffer_clear(oled, true);
	display_power(false);
}

void sc_display_toggle(void)
{
	if (!enabled) {
		sc_display_turn_on(true);
	} else if (mode == SC_DISP_COUNT) {
		mode = SC_DISP_BATTERY;
		sc_app_mark_activity(false);
		sc_display_render();
	} else {
		sc_display_turn_off();
	}
}

void sc_display_show_status(const char *line1, const char *line2)
{
	strncpy(status_l1, line1 ? line1 : "", sizeof(status_l1) - 1);
	strncpy(status_l2, line2 ? line2 : "", sizeof(status_l2) - 1);
	status_active = true;
	enabled = true;
	sc_display_render();
}

void sc_display_clear_status(void)
{
	status_active = false;
	status_l1[0] = '\0';
	status_l2[0] = '\0';
	sc_display_render();
}

bool sc_display_enabled(void) { return enabled; }
enum sc_display_mode sc_display_get_mode(void) { return mode; }
```

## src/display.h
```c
/*
 * OLED. The Arduino code used Adafruit_GFX + Adafruit_SSD1306. In
 * Zephyr we use the generic `display` API plus the character
 * framebuffer (cfb) helpers. For a richer UI (icons, anti-aliased
 * text, custom widgets) swap cfb for LVGL (`CONFIG_LVGL=y`).
 */

#ifndef SMARTCOUNTER_DISPLAY_H_
#define SMARTCOUNTER_DISPLAY_H_

#include <stdbool.h>

enum sc_display_mode {
	SC_DISP_COUNT,
	SC_DISP_BATTERY,
};

int  sc_display_init(void);

void sc_display_turn_on(bool open_ble_window);
void sc_display_turn_off(void);
void sc_display_toggle(void);

void sc_display_show_status(const char *line1, const char *line2);
void sc_display_clear_status(void);
void sc_display_render(void);

bool sc_display_enabled(void);
enum sc_display_mode sc_display_get_mode(void);

#endif /* SMARTCOUNTER_DISPLAY_H_ */
```

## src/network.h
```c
/*
 * WiFi + HTTP layer. Replaces:
 *   - WiFi.begin / WiFi.status              (Arduino WiFi.h)
 *   - HTTPClient + WiFiClientSecure         (HTTPClient.h)
 *   - ArduinoJson DynamicJsonDocument       (ArduinoJson.h)
 *
 * Zephyr equivalents:
 *   - net_mgmt + struct wifi_connect_req_params
 *   - http_client_req() over BSD-style sockets
 *   - mbedTLS via TLS_SEC_TAG (HTTPS)
 *   - <zephyr/data/json.h> (declarative parser)
 */

#ifndef SMARTCOUNTER_NETWORK_H_
#define SMARTCOUNTER_NETWORK_H_

#include <stdbool.h>

int  sc_network_init(void);

bool sc_wifi_connect(uint32_t timeout_ms);
void sc_wifi_disconnect(void);

int  sc_http_post_counter_update(void);
int  sc_http_fetch_and_apply_commands(void);
int  sc_http_ack_command(const char *command_id, const char *status,
			 const char *result_message);

#endif /* SMARTCOUNTER_NETWORK_H_ */
```
